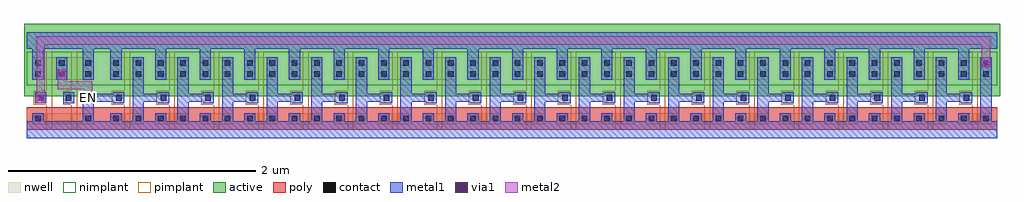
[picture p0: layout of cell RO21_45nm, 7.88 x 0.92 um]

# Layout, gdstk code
import gdstk
lib = gdstk.Library(unit=1e-6, precision=1e-09)
def R(c, l, rs):  # rectangles x0, y0, x1, y1
    for r in rs: c.add(gdstk.rectangle(r[:2], r[2:], *l))
def A(c, l, x, y, w, h, nx, ny, dx, dy):  # array of equal rectangles
    R(c, l, [(x+i*dx, y+j*dy, x+i*dx+w, y+j*dy+h) for i in range(nx) for j in range(ny)])
active = (1, 0)
nwell = (2, 0)
poly = (3, 0)
nimplant = (4, 0)
pimplant = (5, 0)
contact = (6, 0)
metal1 = (7, 0)
via1 = (8, 0)
metal2 = (9, 0)

ro21_45nm = lib.new_cell('RO21_45nm')
A(ro21_45nm, active, 0.608, 0.338, 0.405, 0.585, 20, 1, 0.36, 0)
R(ro21_45nm, active, [(-0.023,0.338,0.653,0.923)])
A(ro21_45nm, nwell, 0.675, 0.113, 0.27, 0.09, 20, 1, 0.36, 0)
A(ro21_45nm, nwell, 0.675, 0.473, 0.27, 0.18, 20, 1, 0.36, 0)
R(ro21_45nm, nwell, [(0.045,0.113,0.54,0.203), (0.045,0.473,0.54,0.653)])
A(ro21_45nm, poly, 0.63, 0.068, 0.36, 0.18, 20, 1, 0.36, 0)
R(ro21_45nm, poly, [(0,0.068,0.63,0.248)])
A(ro21_45nm, nimplant, 0.63, 0.428, 0.36, 0.27, 20, 1, 0.36, 0)
R(ro21_45nm, nimplant, [(0,0.428,0.63,0.698)])
A(ro21_45nm, pimplant, 0.788, 0.068, 0.045, 0.63, 20, 1, 0.36, 0)
A(ro21_45nm, pimplant, 0.686, 0.27, 0.113, 0.113, 20, 1, 0.36, 0)
R(ro21_45nm, pimplant, [(0.158,0.068,0.203,0.698), (0.36,0.068,0.405,0.698), (0.056,0.27,0.169,0.383), (0.293,0.27,0.405,0.383)])
A(ro21_45nm, contact, 0.698, 0.135, 0.045, 0.045, 40, 2, 0.18, 0.36)
A(ro21_45nm, contact, 0.72, 0.304, 0.045, 0.045, 20, 1, 0.36, 0)
A(ro21_45nm, contact, 0.698, 0.585, 0.045, 0.045, 40, 1, 0.18, 0)
R(ro21_45nm, contact, [(0.068,0.135,0.113,0.18), (0.473,0.135,0.518,0.18), (0.09,0.304,0.135,0.349), (0.315,0.304,0.36,0.349), (0.068,0.495,0.113,0.54), (0.259,0.495,0.304,0.54), (0.473,0.495,0.518,0.54), (0.068,0.585,0.113,0.63), (0.259,0.585,0.304,0.63), (0.473,0.585,0.518,0.63)])
A(ro21_45nm, metal1, 0.63, 0, 0.36, 0.135, 20, 2, 0.36, 0.72)
A(ro21_45nm, metal1, 0.675, 0, 0.09, 0.203, 20, 1, 0.36, 0)
A(ro21_45nm, metal1, 0.855, 0.113, 0.09, 0.54, 20, 1, 0.36, 0)
A(ro21_45nm, metal1, 0.698, 0.281, 0.09, 0.09, 20, 1, 0.36, 0)
A(ro21_45nm, metal1, 0.945, 0.293, 0.113, 0.067, 19, 1, 0.36, 0)
A(ro21_45nm, metal1, 0.675, 0.473, 0.09, 0.382, 20, 1, 0.36, 0)
R(ro21_45nm, metal1, [(0,0,0.63,0.135), (0.045,0,0.135,0.203), (0.45,0.113,0.54,0.36), (0.068,0.281,0.158,0.371), (0.293,0.281,0.383,0.371), (0.54,0.293,0.698,0.36), (0.045,0.473,0.135,0.855), (0.236,0.473,0.326,0.653), (0.45,0.473,0.54,0.855), (0,0.72,0.63,0.855)])
R(ro21_45nm, via1, [(0.473,0.293,0.518,0.338), (0.09,0.304,0.135,0.349), (0.259,0.495,0.304,0.54), (7.718,0.585,7.763,0.63)])
R(ro21_45nm, metal2, [(0.079,0.281,0.146,0.821), (0.461,0.281,0.529,0.461), (0.248,0.394,0.529,0.461), (0.248,0.394,0.315,0.551), (7.706,0.574,7.774,0.821), (0.079,0.754,7.774,0.821)])
ro21_45nm.add(gdstk.Label('EN', (0.495,0.326), layer=7, texttype=0))

lib.write_gds('RO21_45nm.gds')
